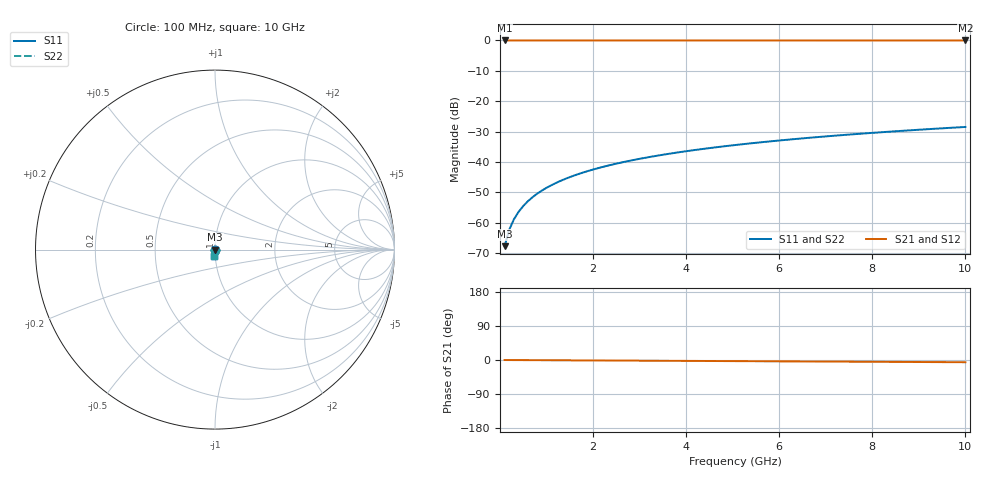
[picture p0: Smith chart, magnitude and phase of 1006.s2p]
# Hz S RI R 50.00
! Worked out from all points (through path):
!   100 points, 100 MHz to 10 GHz, reference 50 ohm
!   highest |S21| = 0.00 dB at 100 MHz (marker M1); lowest = 0.0 dB at 10 GHz (marker M2)
!   lowest |S11| = -67.8 dB at 100 MHz (marker M3), VSWR 1.00, Z = 50 - j0.0374 ohm
!   |S11| at or under -10 dB: start of sweep to end of sweep
!   |S22| runs from -67.8 to -28.5 dB; largest |S21 - S12| = 0
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1e8  0.000167 -0.000374  0.9998 -0.00102  0.9998 -0.00102  0.000167 -0.000374
2e8  0.000166 -0.000748  0.9998 -0.00205  0.9998 -0.00205  0.000166 -0.000748
3e8  0.000164 -0.00112  0.9998 -0.00307  0.9998 -0.00307  0.000164 -0.00112
4e8  0.000162 -0.0015  0.9998 -0.00409  0.9998 -0.00409  0.000162 -0.0015
5e8  0.000158 -0.00187  0.9998 -0.00511  0.9998 -0.00511  0.000158 -0.00187
6e8  0.000154 -0.00224  0.9998 -0.00614  0.9998 -0.00614  0.000154 -0.00224
7e8  0.000149 -0.00262  0.9998 -0.00716  0.9998 -0.00716  0.000149 -0.00262
8e8  0.000143 -0.00299  0.9998 -0.00818  0.9998 -0.00818  0.000143 -0.00299
9e8  0.000136 -0.00337  0.9998 -0.00921  0.9998 -0.00921  0.000136 -0.00337
1.1e9  0.00012 -0.00411  0.9997 -0.0113  0.9997 -0.0113  0.00012 -0.00411
1.4e9  9.03e-05 -0.00524  0.9997 -0.0143  0.9997 -0.0143  9.03e-05 -0.00524
1.8e9  3.99e-05 -0.00673  0.9996 -0.0184  0.9996 -0.0184  3.99e-05 -0.00673
2.1e9  -6.13e-06 -0.00786  0.9995 -0.0215  0.9995 -0.0215  -6.13e-06 -0.00786
2.5e9  -7.83e-05 -0.00936  0.9994 -0.0256  0.9994 -0.0256  -7.83e-05 -0.00936
2.9e9  -0.000163 -0.0109  0.9993 -0.0297  0.9993 -0.0297  -0.000163 -0.0109
3.4e9  -0.000286 -0.0127  0.9991 -0.0348  0.9991 -0.0348  -0.000286 -0.0127
4.2e9  -0.000523 -0.0157  0.9987 -0.043  0.9987 -0.043  -0.000523 -0.0157
5.1e9  -0.00085 -0.0191  0.9982 -0.0523  0.9982 -0.0523  -0.00085 -0.0191
5.9e9  -0.00119 -0.0221  0.9977 -0.0605  0.9977 -0.0605  -0.00119 -0.0221
6.7e9  -0.00159 -0.0251  0.9971 -0.0687  0.9971 -0.0687  -0.00159 -0.0251
8.4e9  -0.00259 -0.0315  0.9955 -0.0862  0.9955 -0.0862  -0.00259 -0.0315
1e10  -0.00374 -0.0374  0.9937 -0.1026  0.9937 -0.1026  -0.00374 -0.0374
